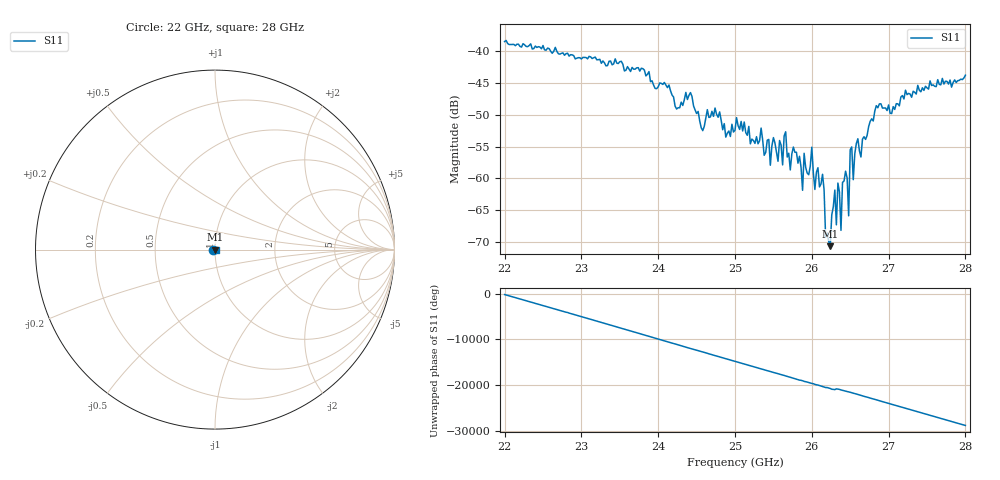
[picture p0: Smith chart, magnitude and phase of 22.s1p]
#  HZ  S  RI  R  50.00
! Rohde & Schwarz ZVA40 4Ports - Version 3.90 - 1145.1110k42 SN: 100403
! Date: 2023-10-04 08:37:27
! Measurement: S12
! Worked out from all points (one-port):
!   301 points, 22 GHz to 28 GHz, reference 50 ohm
!   lowest |S11| = -70.7 dB at 26.24 GHz (marker M1), VSWR 1.00, Z = 50 + j0.0101 ohm
!   |S11| at or under -10 dB: start of sweep to end of sweep
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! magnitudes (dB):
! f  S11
! 22 GHz  -38.4
! 22.76 GHz  -40.2
! 23.5 GHz  -41.6
! 24.26 GHz  -48.9
! 25 GHz  -52.4
! 25.34 GHz  -52.1
! 25.46 GHz  -57.9
! 25.5 GHz  -53.6
! 25.72 GHz  -58.7
! 25.76 GHz  -55.1
! 25.88 GHz  -61.9
! 25.9 GHz  -56.1
! 26.14 GHz  -59.4
! 26.18 GHz  -69.3
! 26.24 GHz  -70.7
! 26.3 GHz  -61.8
! 26.32 GHz  -67.3
! 26.34 GHz  -60.7
! 26.38 GHz  -68.2
! 26.4 GHz  -60.6
! 26.44 GHz  -58.9
! 26.48 GHz  -65.9
! 26.5 GHz  -55.5
! 26.54 GHz  -60.2
! 26.58 GHz  -54.5
! 26.84 GHz  -48.5
! 27.26 GHz  -46.6
! 28 GHz  -43.7
